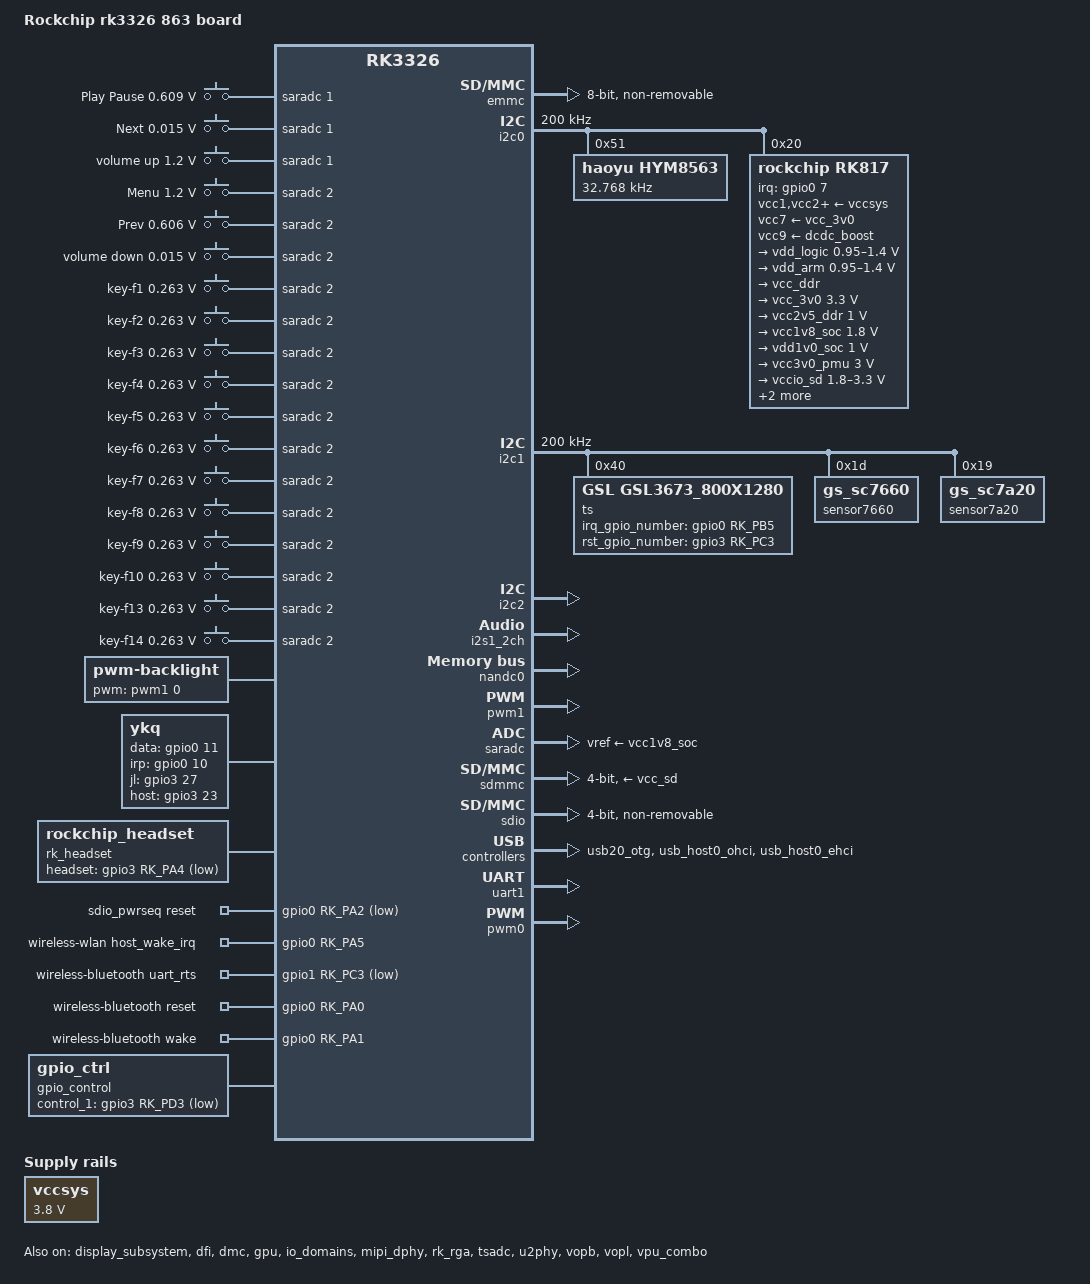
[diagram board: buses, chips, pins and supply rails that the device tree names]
/*
 * Copyright (c) 2017 Fuzhou Rockchip Electronics Co., Ltd
 *
 * SPDX-License-Identifier: (GPL-2.0+ OR MIT)
 */

/dts-v1/;
#include <dt-bindings/display/drm_mipi_dsi.h>
#include <dt-bindings/gpio/gpio.h>
#include <dt-bindings/input/input.h>
#include <dt-bindings/pinctrl/rockchip.h>
#include <dt-bindings/sensor-dev.h>
#include "rk3326.dtsi"
#include "rk3326-863-cif-sensor.dtsi"
#include "px30-android.dtsi"


#include "lcd/lcd-800x1280-ILI9881C_BOE_TV101WXU-N90-49P0_V02.dtsi"

/ {
	model = "Rockchip rk3326 863 board";
	compatible = "rockchip,rk3326-863-lp3-v10", "rockchip,rk3326";

	adc-keys0 {
		compatible = "adc-keys0";
		io-channels = <&saradc 1>;
		io-channel-names = "buttons";
		poll-interval = <100>;
		keyup-threshold-microvolt = <1800000>;

		button-Play {
			label = "Play Pause";
			linux,code = <KEY_ENTER>;//KEY_LEFT
			press-threshold-microvolt = <609000>;
		};		
		
		button-next {
			label = "Next";
			linux,code = <KEY_UP>;//KEY_UP
			press-threshold-microvolt = <15000>;
		};
		
		vol-up-key {
			linux,code = <KEY_VOLUMEUP>;
			label = "volume up";
			press-threshold-microvolt = <1200000>;
		};


				
	};
	
	adc-keys {
		compatible = "adc-keys";
		io-channels = <&saradc 2>;
		io-channel-names = "buttons";
		poll-interval = <100>;
		keyup-threshold-microvolt = <1800000>;
		
		button-menu {
			label = "Menu";
			linux,code = <KEY_BACK>;//KEY_DOWN
			press-threshold-microvolt = <1200000>;
		};
		button-prev {
			label = "Prev";
			linux,code = <KEY_DOWN>;//KEY_ENTER
			press-threshold-microvolt = <606000>;
		};
		vol-down-key {
			linux,code = <KEY_VOLUMEDOWN>;//KEY_BACK
			label = "volume down";
			press-threshold-microvolt = <15000>;
		};

// init ykq key		
		key-f1-key {
			linux,code = <KEY_PREVIOUSSONG>;
			label = "key-f1";
			press-threshold-microvolt = <263000>;
		};		


		key-f2-key {
			linux,code = <KEY_VOLUMEUP>;
			label = "key-f2";
			press-threshold-microvolt = <263000>;
		};

		key-f3-key {
			linux,code = <KEY_NEXTSONG>;
			label = "key-f3";
			press-threshold-microvolt = <263000>;
		};		


		key-f4-key {
			linux,code = <KEY_VOLUMEDOWN>;
			label = "key-f4";
			press-threshold-microvolt = <263000>;
		};
		
		key-f5-key {
			linux,code = <KEY_PLAYPAUSE>;
			label = "key-f5";
			press-threshold-microvolt = <263000>;
		};		


		key-f6-key {
			linux,code = <KEY_BACK>;
			label = "key-f6";
			press-threshold-microvolt = <263000>;
		};

		key-f7-key {
			linux,code = <KEY_HOMEPAGE>;
			label = "key-f7";
			press-threshold-microvolt = <263000>;
		};		


		key-f8-key {
			linux,code = <KEY_F8>;
			label = "key-f8";
			press-threshold-microvolt = <263000>;
		};
						
		key-f9-key {
			linux,code = <KEY_MENU>;
			label = "key-f9";
			press-threshold-microvolt = <263000>;
		};		
		key-f10-key {
			linux,code = <KEY_MUTE>;
			label = "key-f10";
			press-threshold-microvolt = <263000>;
		};		
     key-f13-key {
      linux,code = <KEY_POWER>;
      label = "key-f13";
      press-threshold-microvolt = <263000>;
     };
     key-f14-key {
      linux,code = <KEY_F1>;
      label = "key-f14";
      press-threshold-microvolt = <263000>;
     };

				
	};

	backlight: backlight {
		compatible = "pwm-backlight";
		pwms = <&pwm1 0 25000 0>;
		brightness-levels = <
			 0   10  10  11  11  12  12  13
			 13  14  14  15  15  16  16  17
			 17  18  18  19  20  21  22  23
			 24  25  26  27  28  29  30  31
			 32  33  34  35  36  37  38  39
			 40  41  42  43  44  45  46  47
			 48  49  50  51  52  53  54  55
			 56  57  58  59  60  61  62  63
			 64  65  66  67  68  69  70  71
			 72  73  74  75  76  77  78  79
			 80  81  82  83  84  85  86  87
			 88  89  90  91  92  93  94  95
			 96  97  98  99 100 101 102 103
			104 105 106 107 108 109 110 111
			112 113 114 115 116 117 118 119
			120 121 122 123 124 125 126 127
			128 129 130 131 132 133 134 135
			136 137 138 139 140 141 142 143
			144 145 146 147 148 149 150 151
			152 153 154 155 156 157 158 159
			160 161 162 163 164 165 166 167
			168 169 170 171 172 173 174 175
			176 177 178 179 180 181 182 183
			184 185 186 187 188 189 190 191
			192 193 194 195 196 197 198 199
			200 201 202 203 204 205 206 207
			208 209 210 211 212 213 214 215
			216 217 218 219 220 221 222 223
			224 225 226 227 228 229 230 231
			232 233 234 235 236 237 238 239
			240 241 242 243 244 245 246 247
			248 249 250 251 252 253 254 255>;
		default-brightness-level = <200>;
	};

	charge-animation {
		compatible = "rockchip,uboot-charge";
		rockchip,uboot-charge-on = <0>;
		rockchip,android-charge-on = <0>;
		rockchip,uboot-low-power-voltage = <3500>;
		rockchip,screen-on-voltage = <3600>;
		status = "disabled";
	};

	/* FIXME -- GPIO conficts with vb-switch */
	ykq {
                compatible = "ykq";
                data-gpio = <&gpio0 11 GPIO_ACTIVE_HIGH>;
                irp-gpio = <&gpio0 10 IRQ_TYPE_LEVEL_HIGH>; //0 10
                jl-gpio = <&gpio3 27 IRQ_TYPE_LEVEL_HIGH>;
                host-gpio=<&gpio3 23 GPIO_ACTIVE_HIGH>;
                status = "okay";
        };
/*	jl {
                compatible = "jl";
                irp-gpio = <&gpio3 27 IRQ_TYPE_LEVEL_HIGH>; 
                status = "okay";
        };   */     
	rk817-sound {
		compatible = "simple-audio-card";
		simple-audio-card,format = "i2s";
		simple-audio-card,name = "rockchip,rk817-codec";
		simple-audio-card,mclk-fs = <256>;
		simple-audio-card,widgets =
			"Microphone", "Mic Jack",
			"Headphone", "Headphone Jack";
		simple-audio-card,routing =
			"Mic Jack", "MICBIAS1",
			"IN1P", "Mic Jack",
			"Headphone Jack", "HPOL",
			"Headphone Jack", "HPOR";
		simple-audio-card,cpu {
			sound-dai = <&i2s1_2ch>;
		};
		simple-audio-card,codec {
			sound-dai = <&rk817_codec>;
		};
	};

	rk_headset {
		compatible = "rockchip_headset";
		headset_gpio = <&gpio3 RK_PA4 GPIO_ACTIVE_LOW>;
		pinctrl-names = "default";
		pinctrl-0 = <&hp_det>;
	};

	sdio_pwrseq: sdio-pwrseq {
		compatible = "mmc-pwrseq-simple";
		clocks = <&rk817 1>;
		clock-names = "ext_clock";
		pinctrl-names = "default";
		pinctrl-0 = <&wifi_enable_h>;

		/*
		 * On the module itself this is one of these (depending
		 * on the actual card populated):
		 * - SDIO_RESET_L_WL_REG_ON
		 * - PDN (power down when low)
		 */
		reset-gpios = <&gpio0 RK_PA2 GPIO_ACTIVE_LOW>; /* GPIO3_A4 */
	};

	vccsys: vccsys {
		compatible = "regulator-fixed";
		regulator-name = "vcc3v8_sys";
		regulator-always-on;
		regulator-boot-on;
		regulator-min-microvolt = <3800000>;
		regulator-max-microvolt = <3800000>;
	};

	wireless-wlan {
		compatible = "wlan-platdata";
		wifi_chip_type = "rtl8723cs";//rtl8723cs  ap6255
		WIFI,host_wake_irq = <&gpio0 RK_PA5 GPIO_ACTIVE_HIGH>;
	//	WIFI,vbat_gpio = <&gpio3 RK_PB6 GPIO_ACTIVE_LOW>;
		status = "okay";
	};

	wireless-bluetooth {
		compatible = "bluetooth-platdata";
		uart_rts_gpios = <&gpio1 RK_PC3 GPIO_ACTIVE_LOW>;
		pinctrl-names = "default","rts_gpio";
		pinctrl-0 = <&uart1_rts>;
		pinctrl-1 = <&uart1_rts_gpio>;
		BT,reset_gpio = <&gpio0 RK_PA0 GPIO_ACTIVE_HIGH>;
		BT,wake_gpio = <&gpio0 RK_PA1 GPIO_ACTIVE_HIGH>;
		//BT,wake_host_irq = <&gpio0 RK_PA7 GPIO_ACTIVE_HIGH>;
		status = "okay";
	};

	/* FIXME -- GPIO conflict with vb-switch */
        gpio_control {
                compatible = "gpio_ctrl";
                gpio_control_1  =<&gpio3 RK_PD3 GPIO_ACTIVE_LOW>;
                //gpio_control_2  =<&gpio0 GPIO_B4 GPIO_ACTIVE_LOW>;
               //gpio_control_3  =<&gpio0 GPIO_D4 GPIO_ACTIVE_HIGH>;
               //gpio_control_DRV =<&gpio8 GPIO_A6 GPIO_ACTIVE_HIGH>;
                //gpio_control_PWR =<&gpio8 GPIO_A3 GPIO_ACTIVE_LOW>;
                status = "okay";
        };

	vb-switch {
		status = "disabled";
		compatible = "rockchip,vbswitch";
		chan_a = <&gpio3 RK_PD2 GPIO_ACTIVE_LOW >;
		chan_b = <&gpio3 RK_PD3 GPIO_ACTIVE_LOW >;
		chan_k = <&gpio3 RK_PD1 GPIO_ACTIVE_LOW >;
		scrl_a = <&gpio0 RK_PB3 GPIO_ACTIVE_LOW >;
		scrl_b = <&gpio0 RK_PB4 GPIO_ACTIVE_LOW >;
		scrl_k = <&gpio0 RK_PB2 GPIO_ACTIVE_LOW >;
		tpo1 = <&gpio3 RK_PA0 GPIO_ACTIVE_LOW >;
		tpo2 = <&gpio3 RK_PA1 GPIO_ACTIVE_LOW >;
	};
};

&cif {
	status = "disabled";
};

&cif_sensor {
	status = "disabled";
};

&display_subsystem {
	status = "okay";
};

&cpu0 {
	cpu-supply = <&vdd_arm>;
};

&cpu0_opp_table {
	/*
	 * max IR-drop values on different freq condition for this board!
	 */
	rockchip,board-irdrop = <
		/*MHz	MHz	uV */
		0	815	37500
		816	1119	50000
		1200	1512	75000
	>;
};

&dmc_opp_table {
	/*
	 * max IR-drop values on different freq condition for this board!
	 */
	rockchip,board-irdrop = <
		/*MHz	MHz	uV */
		0   450 50000
		451	800	75000
	>;
};

&dsi_in_vopl {
	status = "disabled";
};

&dfi {
	status = "okay";
};

&dmc {
	center-supply = <&vdd_logic>;
	status = "okay";
};

&emmc {
	bus-width = <8>;
	cap-mmc-highspeed;
	mmc-hs200-1_8v;
	supports-emmc;
	disable-wp;
	non-removable;
	num-slots = <1>;
	status = "okay";
};

&gpu {
	mali-supply = <&vdd_logic>;
	status = "okay";
};

&i2c0 {
	status = "okay";
clock-frequency = <200000>;	
  hym8563: hym8563@51 {
                compatible = "haoyu,hym8563";
                reg = <0x51>;
                #clock-cells = <0>;
                clock-frequency = <32768>;
                clock-output-names = "xin32k";
                /* rtc_int is not connected */
                status = "okay";
        };

	rk817: pmic@20 {
		compatible = "rockchip,rk817";
		reg = <0x20>;
		interrupt-parent = <&gpio0>;
		interrupts = <7 IRQ_TYPE_LEVEL_LOW>;
		pinctrl-names = "default", "pmic-sleep",
				"pmic-power-off", "pmic-reset";
		pinctrl-0 = <&pmic_int>;
		pinctrl-1 = <&soc_slppin_slp>, <&rk817_slppin_slp>;
		pinctrl-2 = <&soc_slppin_gpio>, <&rk817_slppin_pwrdn>;
		pinctrl-3 = <&soc_slppin_rst>, <&rk817_slppin_rst>;
		rockchip,system-power-controller;
		wakeup-source;
		#clock-cells = <1>;
		clock-output-names = "rk808-clkout1", "rk808-clkout2";
		//fb-inner-reg-idxs = <2>;
		/* 1: rst regs (default in codes), 0: rst the pmic */
		pmic-reset-func = <1>;

		vcc1-supply = <&vccsys>;
		vcc2-supply = <&vccsys>;
		vcc3-supply = <&vccsys>;
		vcc4-supply = <&vccsys>;
		vcc5-supply = <&vccsys>;
		vcc6-supply = <&vccsys>;
		vcc7-supply = <&vcc_3v0>;
		vcc8-supply = <&vccsys>;
		vcc9-supply = <&dcdc_boost>;

		pwrkey {
			status = "okay";
		};

		pinctrl_rk8xx: pinctrl_rk8xx {
			gpio-controller;
			#gpio-cells = <2>;

			rk817_ts_gpio1: rk817_ts_gpio1 {
				pins = "gpio_ts";
				function = "pin_fun1";
				/* output-low; */
				/* input-enable; */
			};

			rk817_gt_gpio2: rk817_gt_gpio2 {
				pins = "gpio_gt";
				function = "pin_fun1";
			};

			rk817_pin_ts: rk817_pin_ts {
				pins = "gpio_ts";
				function = "pin_fun0";
			};

			rk817_pin_gt: rk817_pin_gt {
				pins = "gpio_gt";
				function = "pin_fun0";
			};

			rk817_slppin_null: rk817_slppin_null {
				pins = "gpio_slp";
				function = "pin_fun0";
			};

			rk817_slppin_slp: rk817_slppin_slp {
				pins = "gpio_slp";
				function = "pin_fun1";
			};

			rk817_slppin_pwrdn: rk817_slppin_pwrdn {
				pins = "gpio_slp";
				function = "pin_fun2";
			};

			rk817_slppin_rst: rk817_slppin_rst {
				pins = "gpio_slp";
				function = "pin_fun3";
			};
		};

		regulators {
			vdd_logic: DCDC_REG1 {
				regulator-always-on;
				regulator-boot-on;
				regulator-min-microvolt = <950000>;
				regulator-max-microvolt = <1400000>;
				regulator-ramp-delay = <6001>;
				regulator-initial-mode = <0x2>;
				regulator-name = "vdd_logic";
				regulator-state-mem {
					regulator-on-in-suspend;
					regulator-suspend-microvolt = <950000>;
				};
			};

			vdd_arm: DCDC_REG2 {
				regulator-always-on;
				regulator-boot-on;
				regulator-min-microvolt = <950000>;
				regulator-max-microvolt = <1400000>;
				regulator-ramp-delay = <6001>;
				regulator-initial-mode = <0x2>;
				regulator-name = "vdd_arm";
				regulator-state-mem {
					regulator-off-in-suspend;
					regulator-suspend-microvolt = <950000>;
				};
			};

			vcc_ddr: DCDC_REG3 {
				regulator-always-on;
				regulator-boot-on;
				regulator-initial-mode = <0x2>;
				regulator-name = "vcc_ddr";
				regulator-state-mem {
					regulator-on-in-suspend;
				};
			};

			vcc_3v0: DCDC_REG4 {
				regulator-always-on;
				regulator-boot-on;
				regulator-min-microvolt = <3300000>;
				regulator-max-microvolt = <3300000>;
				regulator-initial-mode = <0x2>;
				regulator-name = "vcc_3v0";
				regulator-state-mem {
					regulator-on-in-suspend;
					regulator-suspend-microvolt = <3300000>;
				};
			};

			vcc2v5_ddr: LDO_REG1 {
				regulator-always-on;
				regulator-boot-on;
				regulator-min-microvolt = <1000000>;
				regulator-max-microvolt = <1000000>;
				regulator-initial-mode = <0x1>;
				regulator-name = "vcc2v5_ddr";
				regulator-state-mem {
					regulator-on-in-suspend;
					regulator-suspend-microvolt = <1000000>;
				};
			};

			vcc1v8_soc: LDO_REG2 {
				regulator-always-on;
				regulator-boot-on;
				regulator-min-microvolt = <1800000>;
				regulator-max-microvolt = <1800000>;

				regulator-name = "vcc1v8_soc";
				regulator-state-mem {
					regulator-on-in-suspend;
					regulator-suspend-microvolt = <1800000>;
				};
			};

			vdd1v0_soc: LDO_REG3 {
				regulator-always-on;
				regulator-boot-on;
				regulator-min-microvolt = <1000000>;
				regulator-max-microvolt = <1000000>;

				regulator-name = "vcc1v0_soc";
				regulator-state-mem {
					regulator-on-in-suspend;
					regulator-suspend-microvolt = <1000000>;
				};
			};

			vcc3v0_pmu: LDO_REG4 {
				regulator-always-on;
				regulator-boot-on;
				regulator-min-microvolt = <3000000>;
				regulator-max-microvolt = <3000000>;

				regulator-name = "vcc3v0_pmu";
				regulator-state-mem {
					regulator-on-in-suspend;
					regulator-suspend-microvolt = <3000000>;

				};
			};

			vccio_sd: LDO_REG5 {
				regulator-always-on;
				regulator-boot-on;
				regulator-min-microvolt = <1800000>;
				regulator-max-microvolt = <3300000>;

				regulator-name = "vccio_sd";
				regulator-state-mem {
					regulator-on-in-suspend;
					regulator-suspend-microvolt = <3300000>;
				};
			};

			vcc_sd: LDO_REG6 {
				regulator-always-on;
				regulator-boot-on;			
				regulator-min-microvolt = <3300000>;
				regulator-max-microvolt = <3300000>;

				regulator-name = "vcc_sd";
				regulator-state-mem {
					regulator-on-in-suspend;
					regulator-suspend-microvolt = <3300000>;

				};
			};

			vcc2v8_dvp: LDO_REG7 {
				regulator-always-on;
				regulator-boot-on;
				regulator-min-microvolt = <2800000>;
				regulator-max-microvolt = <2800000>;

				regulator-name = "vcc2v8_dvp";
				regulator-state-mem {
					regulator-off-in-suspend;
					regulator-suspend-microvolt = <2800000>;
				};
			};

			vcc1v8_dvp: LDO_REG8 {
				regulator-always-on;
				regulator-boot-on;
				regulator-min-microvolt = <1800000>;
				regulator-max-microvolt = <1800000>;

				regulator-name = "vcc1v8_dvp";
				regulator-state-mem {
					regulator-on-in-suspend;
					regulator-suspend-microvolt = <1800000>;
				};
			};

			vdd1v5_dvp: LDO_REG9 {
				regulator-always-on;
				regulator-boot-on;
				regulator-min-microvolt = <1800000>;
				regulator-max-microvolt = <1800000>;

				regulator-name = "vdd1v5_dvp";
				regulator-state-mem {
					regulator-off-in-suspend;
					regulator-suspend-microvolt = <1500000>;
				};
			};

			dcdc_boost: BOOST {
				regulator-always-on;
				regulator-boot-on;
				regulator-min-microvolt = <4700000>;
				regulator-max-microvolt = <5400000>;
				regulator-name = "boost";
			};

			otg_switch: OTG_SWITCH {
				regulator-boot-on;
				regulator-name = "otg_switch";
			};
		};

	/*	battery {
			compatible = "rk817,battery";
			ocv_table = <3500 3639 3684 3700 3727 3744 3761 3779 3791 3805 3823 3844 3872 3919 3960 3985 4046 4087 4136 4186 4246>;
			design_capacity = <3800>;
			design_qmax = <4400>;
			bat_res = <100>;
			sleep_enter_current = <150>;
			sleep_exit_current = <180>;
			sleep_filter_current = <100>;
			power_off_thresd = <3500>;
			zero_algorithm_vol = <3950>;
			max_soc_offset = <60>;
			monitor_sec = <5>;
			sample_res = <10>;
			virtual_power = <0>;
		};

		charger {
			compatible = "rk817,charger";
			min_input_voltage = <4500>;
			max_input_current = <2000>;
			max_chrg_current = <1600>;
			max_chrg_voltage = <4200>;
			chrg_term_mode = <1>;
			chrg_finish_cur = <300>;
			virtual_power = <0>;
			dc_det_adc = <0>;
			extcon = <&u2phy>;
		};
			*/
		rk817_codec: codec {
			#sound-dai-cells = <0>;
			compatible = "rockchip,rk817-codec";
			clocks = <&cru SCLK_I2S1_OUT>;
			clock-names = "mclk";
			pinctrl-names = "default";
			pinctrl-0 = <&i2s1_2ch_mclk>;
			spk-ctl-gpios = <&gpio3 RK_PC2 GPIO_ACTIVE_HIGH>;
			hp-volume = <20>;
			spk-volume = <3>;
			mic-in-differential;
			status = "okay";
		};
	};
};

&i2c1 {
	status = "okay";
	clock-frequency = <200000>;


	ts@40 {
		status = "okay";
		compatible = "GSL,GSL3673_800X1280";
		reg = <0x40>;
		irq_gpio_number = <&gpio0 RK_PB5 IRQ_TYPE_LEVEL_LOW>;
		rst_gpio_number = <&gpio3 RK_PC3 GPIO_ACTIVE_HIGH>;
	};
	

	sensor7660@1d {
		compatible = "gs_sc7660"; 
		reg = <0x1d>; 
		type = <SENSOR_TYPE_ACCEL>; 
		//irq-gpio = <&gpio2 GPIO_B2 IRQ_TYPE_EDGE_FALLING>; 
		irq_enable = <0>; 
		poll_delay_ms = <30>; 
		layout = <7>; //<7>;//<5>; 
		reprobe_en = <1>;
		revert_x = <0>;
		revert_y = <0>;
		revert_z = <0>;
		status = "okay";
		//status = "disabled";
	};

	sensor7a20@19 {
		compatible = "gs_sc7a20"; 
		reg = <0x19>; 
		type = <SENSOR_TYPE_ACCEL>; 
		//irq-gpio = <&gpio2 GPIO_B2 IRQ_TYPE_EDGE_FALLING>; 
		irq_enable = <0>; 
		poll_delay_ms = <30>; 
		layout = <7>; //<7>;//<5>; 
		reprobe_en = <1>;
		revert_x = <0>;
		revert_y = <0>;
		revert_z = <0>;
		status = "okay";
	};
	sensor@19 {
		status = "disabled";
		compatible = "gs_lis3dh";
		reg = <0x19>;
		type = <SENSOR_TYPE_ACCEL>;
		irq-gpio = <&gpio0 RK_PB5 IRQ_TYPE_LEVEL_LOW>;
		irq_enable = <0>;
		poll_delay_ms = <30>;
		layout = <7>;
		reprobe_en = <1>;
	};

	it7236@46 {
		status = "disabled";
		compatible = "it7236";
		reg = <0x46>;
		irq-gpio = <&gpio0 RK_PB5 IRQ_TYPE_LEVEL_LOW>;
	};
};

&i2c2 {
	status = "okay";
};

&i2s1_2ch {
	status = "okay";
	#sound-dai-cells = <0>;
};

&io_domains {
	status = "okay";

	vccio1-supply = <&vcc_3v0>;
	vccio2-supply = <&vccio_sd>;
	vccio3-supply = <&vcc1v8_dvp>;
	vccio4-supply = <&vcc_3v0>;
	vccio5-supply = <&vcc_3v0>;
};

&mipi_dphy {
	status = "okay";
};

&nandc0 {
	status = "okay";
};

&pinctrl {
	headphone {
		hp_det: hp-det {
			rockchip,pins = <3 RK_PA4 RK_FUNC_GPIO &pcfg_pull_up>;
		};
	};

	pmic {
		pmic_int: pmic_int {
			rockchip,pins =
				<0 RK_PA7 RK_FUNC_GPIO &pcfg_pull_up>;
		};

		soc_slppin_gpio: soc_slppin_gpio {
			rockchip,pins =
				<0 RK_PA4 RK_FUNC_GPIO &pcfg_output_low>;
		};

		soc_slppin_slp: soc_slppin_slp {
			rockchip,pins =
				<0 RK_PA4 RK_FUNC_1 &pcfg_pull_none>;
		};

		soc_slppin_rst: soc_slppin_rst {
			rockchip,pins =
				<0 RK_PA4 RK_FUNC_2 &pcfg_pull_none>;
		};
	};

	sdio-pwrseq {
		wifi_enable_h: wifi-enable-h {
			rockchip,pins = <0 RK_PA2 RK_FUNC_GPIO &pcfg_pull_none>;
		};
	};
};

&pmu_io_domains {
	status = "okay";

	pmuio1-supply = <&vcc3v0_pmu>;
	pmuio2-supply = <&vcc3v0_pmu>;
};

&pwm1 {
	status = "okay";
};

&rk_rga {
	status = "okay";
};

&rockchip_suspend {
	status = "okay";
	rockchip,sleep-debug-en = <1>;
};

&saradc {
	status = "okay";
	vref-supply = <&vcc1v8_soc>;
};

&sdmmc {
	bus-width = <4>;
	cap-mmc-highspeed;
	cap-sd-highspeed;
	supports-sd;//supports-emmc;
	supports-emmc;
	card-detect-delay = <1500>;
	ignore-pm-notify;
	sd-uhs-sdr12;
	sd-uhs-sdr25;
	sd-uhs-sdr50;
	sd-uhs-sdr104;
	vqmmc-supply = <&vccio_sd>;
	vmmc-supply = <&vcc_sd>;
	//status = "disabled";
	status = "okay";
};

&sdio {
	bus-width = <4>;
	cap-sd-highspeed;
	supports-sdio;
	ignore-pm-notify;
	keep-power-in-suspend;
	non-removable;
	mmc-pwrseq = <&sdio_pwrseq>;
	sd-uhs-sdr104;
	status = "okay";
};

&tsadc {
	pinctrl-names = "init", "default";
	pinctrl-0 = <&tsadc_otp_gpio>;
	pinctrl-1 = <&tsadc_otp_out>;
	status = "okay";
};

&u2phy {
	status = "okay";

	u2phy_host: host-port {
		rockchip,low-power-mode;
		status = "okay";
	};

	u2phy_otg: otg-port {
	//  vbus-supply = <&vcc5v0_host>;
	//	vbus-supply = <&otg_switch>;
		rockchip,low-power-mode;
		status = "okay";
	};
};

&usb20_otg {
	status = "okay";
};

&usb_host0_ohci {
	status = "okay";
};

&usb_host0_ehci {
	status = "okay";
};

&uart1 {
	pinctrl-names = "default";
	pinctrl-0 = <&uart1_xfer &uart1_cts>;
	status = "okay";
};

&vip_mmu {
	status = "okay";
};

&vopb {
	status = "okay";
};

&vopb_mmu {
	status = "okay";
};

&vopl {
	status = "okay";
};

&vopl_mmu {
	status = "okay";
};

&vpu_combo {
	status = "okay";
};

&pwm0 {
	compatible = "rockchip,remotectl-pwm";
	interrupts = <GIC_SPI 24 IRQ_TYPE_LEVEL_HIGH>;
	pinctrl-names = "default";
	pinctrl-0 = <&pwm0_pin>;
	remote_support_psci = <1>;
	remote_pwm_id = <0>;
	handle_cpu_id = <1>;
	status = "okay";
//	status = "disabled";

        ir_key1{
                rockchip,usercode = <0x7f80>;
                //rockchip,key_table =<0xe5   388>;
                rockchip,key_table =
                        <0x59   KEY_POWER>, //power
                        <0x5a   KEY_UP>, //up
                        <0x5b   KEY_DOWN>, //down
                        <0x5c  	KEY_RIGHT>, //right
			<0x5d   KEY_LEFT>, //left
                        <0x5e   KEY_BACK>, //back
                        <0x5f   KEY_ENTER>; //ok
                };
   /*   ir_key2{ //juhong IR
                rockchip,usercode = <0xfe01>;
                rockchip,key_table =
                        <0xff   KEY_POWER>, //power
                        <0xfa   KEY_UP>, //up
                        <0xfb   KEY_DOWN>, //down
                        <0xf5   KEY_RIGHT>, //right
                        <0xfd   KEY_LEFT>, //left
                        <0xfc   KEY_BACK>, //back
                        <0xf9   353>, //ok
                        <0xfe   KEY_F9>, //ok
                        <0xbb   KEY_F7>, //ok
                        <0xf4   KEY_F6>, //ok
                        <0xbf   KEY_VOLUMEDOWN>, //ok
                        <0xb7   KEY_VOLUMEUP>, //ok
                        <0xf6   KEY_MUTE>; //ok
                };
	
        ir_key3{
                rockchip,usercode = <0x7f80>;
                //rockchip,key_table =<0xe5   388>;
                rockchip,key_table =
                        <0xed   KEY_MUTE>, //静音 	1 
                        <0xe5   KEY_COMPOSE>, //home 	0 F1
                        <0xe1   KEY_POWER>, //power 	1 
                        <0xfe   KEY_HOME>, //photo	0 F2
                        <0xfd   KEY_HANGEUL>, //music	0 F3
                        <0xfc   KEY_SCROLLUP>, //movie	0 F4
                        <0xfb   KEY_FASTFORWARD>, //stop_start1
                        <0xfa   KEY_UP>, //up		1
                        <0xf9   KEY_BACK>, //exit 	1
                        <0xf8   KEY_LEFT>, //left	1
                        <0xf7   KEY_ENTER>, //enter	1
                        <0xf6   KEY_RIGHT>, //right	1
                        <0xf5   KEY_HANJA>, //setup	1
                        <0xe4   KEY_DOWN>, //down	1
                        <0xe0   KEY_KPMINUS>, //calen dar 	0 F5
                        <0xf3   KEY_VOLUMEUP>, //vol+	1
                        <0xf2   KEY_YEN>, // <<		0 F6
                        <0xf1   KEY_PREVIOUSSONG>, // |<<		0 F7
                        <0xff   KEY_VOLUMEDOWN>, //vol-	1
                        <0xf0   KEY_RO>, //>>		0 F8
                        <0xe6   KEY_NEXTSONG>; // >>|		0 F9
                };
*/
      ir_key4{ // 志腾
                rockchip,usercode = <0xfe01>;
                rockchip,key_table =
                        <0xe7   KEY_POWER>, //power
                        <0xb9   KEY_UP>, //up
                        <0xe9   KEY_DOWN>, //down
                        <0xea   KEY_RIGHT>, //right
                        <0xb8   KEY_LEFT>, //left
                        <0xef   KEY_BACK>, //back
                        <0xaa   353>, //ok
                        <0xeb   KEY_F1>, //ok
                        <0xf7   KEY_F2>, //ok
						<0xbf   KEY_F3>, //ok						
						<0xfb   KEY_MENU>; //ok
                };
        };
